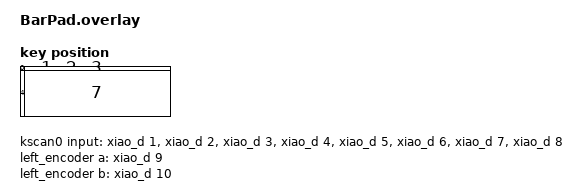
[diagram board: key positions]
#include <dt-bindings/zmk/matrix_transform.h>
#include <dt-bindings/led/led.h>

/ {
    chosen {
        zmk,kscan = &kscan0;
        zmk,underglow = &led_strip;
        zmk,ext-power = &ext_power_node;
        zmk,physical-layout = &physical_layout0;
    };

    /* VBUS 직결 회로 특성 반영을 위한 가상 Ext-Power 노드 */
    ext_power_node: ext-power {
        compatible = "zmk,ext-power-generic";
        control-gpios = <&gpio0 13 GPIO_ACTIVE_HIGH>;
        init-delay-ms = <50>;
    };

    /* 8개 스위치 다이렉트 핀 연결 */
    kscan0: kscan {
        compatible = "zmk,kscan-gpio-direct";
        wakeup-source;

        input-gpios
            = <&xiao_d 1 (GPIO_ACTIVE_LOW | GPIO_PULL_UP)>
            , <&xiao_d 2 (GPIO_ACTIVE_LOW | GPIO_PULL_UP)>
            , <&xiao_d 3 (GPIO_ACTIVE_LOW | GPIO_PULL_UP)>
            , <&xiao_d 4 (GPIO_ACTIVE_LOW | GPIO_PULL_UP)>
            , <&xiao_d 5 (GPIO_ACTIVE_LOW | GPIO_PULL_UP)>
            , <&xiao_d 6 (GPIO_ACTIVE_LOW | GPIO_PULL_UP)>
            , <&xiao_d 7 (GPIO_ACTIVE_LOW | GPIO_PULL_UP)>
            , <&xiao_d 8 (GPIO_ACTIVE_LOW | GPIO_PULL_UP)>;
    };

    /* 로터리 엔코더 */
    left_encoder: encoder_left {
        compatible = "alps,ec11";
        a-gpios = <&xiao_d 9 (GPIO_ACTIVE_LOW | GPIO_PULL_UP)>;
        b-gpios = <&xiao_d 10 (GPIO_ACTIVE_LOW | GPIO_PULL_UP)>;
        steps = <80>;
        status = "okay";
    };

    sensors: sensors {
        compatible = "zmk,keymap-sensors";
        sensors = <&left_encoder>;
        triggers-per-rotation = <20>;
    };

    /* ZMK Studio 호환을 위한 Physical Layout 정의 (2행 4열 구조 기준) */
    physical_layout0: physical_layout_0 {
        compatible = "zmk,physical-layout";
        display-name = "Default Layout";
        kscan = <&kscan0>;
        keys
            = <&key_physical_attrs 0    0 100 100 0 0 0>
            , <&key_physical_attrs 100  0 100 100 0 0 0>
            , <&key_physical_attrs 200  0 100 100 0 0 0>
            , <&key_physical_attrs 300  0 100 100 0 0 0>
            , <&key_physical_attrs 0  100 100 100 0 0 0>
            , <&key_physical_attrs 100 100 100 100 0 0 0>
            , <&key_physical_attrs 200 100 100 100 0 0 0>
            , <&key_physical_attrs 300 100 100 100 0 0 0>;
    };
};

/* SPI / WS2812 RGB 설정 */
&pinctrl {
    spi3_default: spi3_default {
        group1 {
            psels = <NRF_PSEL(SPIM_MOSI, 0, 2)>;
        };
    };

    spi3_sleep: spi3_sleep {
        group1 {
            psels = <NRF_PSEL(SPIM_MOSI, 0, 2)>;
            low-power-enable;
        };
    };
};

&spi3 {
    compatible = "nordic,nrf-spim";
    status = "okay";
    pinctrl-0 = <&spi3_default>;
    pinctrl-1 = <&spi3_sleep>;
    pinctrl-names = "default", "sleep";

    led_strip: ws2812@0 {
        compatible = "worldsemi,ws2812-spi";
        label = "WS2812";
        reg = <0>;
        spi-max-frequency = <4000000>;
        chain-length = <8>;
        spi-one-frame = <0x70>;
        spi-zero-frame = <0x40>;
        color-mapping = <LED_COLOR_ID_GREEN LED_COLOR_ID_RED LED_COLOR_ID_BLUE>;
    };
};
